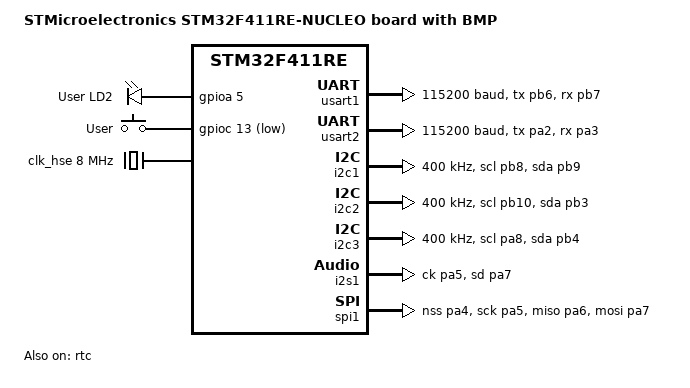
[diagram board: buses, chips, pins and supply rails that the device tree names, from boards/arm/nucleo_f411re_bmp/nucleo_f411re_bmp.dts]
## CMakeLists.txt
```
# SPDX-License-Identifier: Apache-2.0

# variable_watch(BOARD_ROOT) # pour debug 

# ajoute le répertoire projet à la liste BOARD_ROOT
# pour permettre de détecter la carte dans le dossier /boards local
list(APPEND BOARD_ROOT ${CMAKE_CURRENT_SOURCE_DIR})

cmake_minimum_required(VERSION 3.20.0)
find_package(Zephyr REQUIRED HINTS $ENV{ZEPHYR_BASE})
project(blinky)

target_sources(app PRIVATE src/main.c)
```

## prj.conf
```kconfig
CONFIG_GPIO=y
CONFIG_DEBUG_OPTIMIZATIONS=y
CONFIG_USE_SEGGER_RTT=y
CONFIG_RTT_CONSOLE=n
CONFIG_UART_CONSOLE=y
CONFIG_LOG=y
CONFIG_LOG_MODE_IMMEDIATE=y
CONFIG_LOG_BACKEND_UART=n
# activer pour diriger printk vers le backend de la console
# CONFIG_LOG_PRINTK=n
```

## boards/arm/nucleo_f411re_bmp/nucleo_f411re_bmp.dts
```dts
/*
 * Copyright (c) 2017 Linaro Limited
 *
 * SPDX-License-Identifier: Apache-2.0
 */

/dts-v1/;
#include <st/f4/stm32f411Xe.dtsi>
#include <st/f4/stm32f411r(c-e)tx-pinctrl.dtsi>
#include "arduino_r3_connector.dtsi"
#include "st_morpho_connector.dtsi"
#include <zephyr/dt-bindings/input/input-event-codes.h>

/ {
	model = "STMicroelectronics STM32F411RE-NUCLEO board with BMP";
	compatible = "st,stm32f411re-nucleo";

	chosen {
		zephyr,console = &usart2;
		zephyr,shell-uart = &usart2;
		zephyr,sram = &sram0;
		zephyr,flash = &flash0;
	};

	leds: leds {
		compatible = "gpio-leds";
		green_led_2: led_2 {
			gpios = <&gpioa 5 GPIO_ACTIVE_HIGH>;
			label = "User LD2";
		};
	};

	gpio_keys {
		compatible = "gpio-keys";
		user_button: button {
			label = "User";
			gpios = <&gpioc 13 GPIO_ACTIVE_LOW>;
			zephyr,code = <INPUT_KEY_0>;
		};
	};

	aliases {
		led0 = &green_led_2;
		sw0 = &user_button;
	};
};

&clk_lsi {
	status = "okay";
};

&clk_hse {
	hse-bypass;
	clock-frequency = <DT_FREQ_M(8)>; /* STLink 8MHz clock */
	status = "okay";
};

&pll {
	div-m = <8>;
	mul-n = <384>;
	div-p = <4>;
	div-q = <8>;
	clocks = <&clk_hse>;
	status = "okay";
};

&rcc {
	clocks = <&pll>;
	clock-frequency = <DT_FREQ_M(96)>;
	ahb-prescaler = <1>;
	apb1-prescaler = <2>;
	apb2-prescaler = <1>;
};

&usart1 {
	pinctrl-0 = <&usart1_tx_pb6 &usart1_rx_pb7>;
	pinctrl-names = "default";
	current-speed = <115200>;
	status = "okay";
};

&usart2 {
	pinctrl-0 = <&usart2_tx_pa2 &usart2_rx_pa3>;
	pinctrl-names = "default";
	current-speed = <115200>;
	status = "okay";
};

&i2c1 {
	pinctrl-0 = <&i2c1_scl_pb8 &i2c1_sda_pb9>;
	pinctrl-names = "default";
	status = "okay";
	clock-frequency = <I2C_BITRATE_FAST>;
};

&i2c2 {
	pinctrl-0 = <&i2c2_scl_pb10 &i2c2_sda_pb3>;
	pinctrl-names = "default";
	clock-frequency = <I2C_BITRATE_FAST>;
};

&i2c3 {
	pinctrl-0 = <&i2c3_scl_pa8 &i2c3_sda_pb4>;
	pinctrl-names = "default";
	clock-frequency = <I2C_BITRATE_FAST>;
};

&i2s1 {
	pinctrl-0 = <&i2s1_ck_pa5 &i2s1_sd_pa7>;
	pinctrl-names = "default";
};

&spi1 {
	pinctrl-0 = <&spi1_nss_pa4 &spi1_sck_pa5
		     &spi1_miso_pa6 &spi1_mosi_pa7>;
	pinctrl-names = "default";
	status = "okay";
};

&rtc {
	clocks = <&rcc STM32_CLOCK_BUS_APB1 0x10000000>,
		 <&rcc STM32_SRC_LSI RTC_SEL(2)>;
	status = "okay";
};
```

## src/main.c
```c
/*
 * Copyright (c) 2016 Intel Corporation
 *
 * SPDX-License-Identifier: Apache-2.0
 */

#include <stdio.h>
#include <zephyr/kernel.h>
#include <zephyr/drivers/gpio.h>
#include <zephyr/logging/log.h>

LOG_MODULE_REGISTER(main, LOG_LEVEL_DBG);

/* 1000 msec = 1 sec */
#define SLEEP_TIME_MS   1000

/* The devicetree node identifier for the "led0" alias. */
#define LED0_NODE DT_ALIAS(led0)

/*
 * A build error on this line means your board is unsupported.
 * See the sample documentation for information on how to fix this.
 */
static const struct gpio_dt_spec led = GPIO_DT_SPEC_GET(LED0_NODE, gpios);

/*
	j'ai ajouté un bête compteur pour distinguer les lignes sur la sortie console et RTT.
*/

int counter = 0;

int main(void)
{
	int ret;
	bool led_state = true;

	if (!gpio_is_ready_dt(&led)) {
		return 0;
	}

	ret = gpio_pin_configure_dt(&led, GPIO_OUTPUT_ACTIVE);
	if (ret < 0) {
		return 0;
	}

	while (1) {
		counter++;
		
		ret = gpio_pin_toggle_dt(&led);
		if (ret < 0) {
			return 0;
		}

		led_state = !led_state;

		/*
			dans cet exemple le LOG et le printf (console) utilisent la même UART /dev/ttyBmpTarg.
			En dehors d'une session debug, le LOG ne fonctionne pas car RTT n'est pas activé 
			et seuls les printfs sont affichés. Lors d'une session debug les deux sorties LOG et printf sont affichées.
		*/

		/*
			le printf utilise le backend UART et pas le RTT.
			CONFIG_RTT_CONSOLE=n
			CONFIG_UART_CONSOLE=y
			l'UART utilisée pour la console peut être changée dans le devicetree:
			...
			chosen {
				zephyr,console = &usart2;	<- ici
				zephyr,shell-uart = &usart2;
				zephyr,sram = &sram0;
				zephyr,flash = &flash0;
			};
			...
		*/
		printf("%d:printf:LED state: %s\r\n", counter, led_state ? "ON" : "OFF");

		/*
			si le système de LOG est activé, printk est dirigé par défaut vers 
			le même backend que le log, c'est à dire RTT.
			pour diriger printk vers la même console que printf, il faut ajouter l'option 
			CONFIG_LOG_PRINTK=n dans prj.conf
		*/
		printk("%d:printk:LED state: %s\r\n", counter, led_state ? "ON" : "OFF");

		/*
			le systeme de log utilise le backend RTT et pas l'UART
			CONFIG_LOG_BACKEND_UART=n
			l'option suivante est implicite, pas besoin de la préciser dans prj.conf
			(CONFIG_LOG_BACKEND_RTT=y)
		*/
		LOG_DBG("%d:LED state: %s", counter, led_state ? "ON" : "OFF");

		k_msleep(SLEEP_TIME_MS);
	}
	return 0;
}
```
